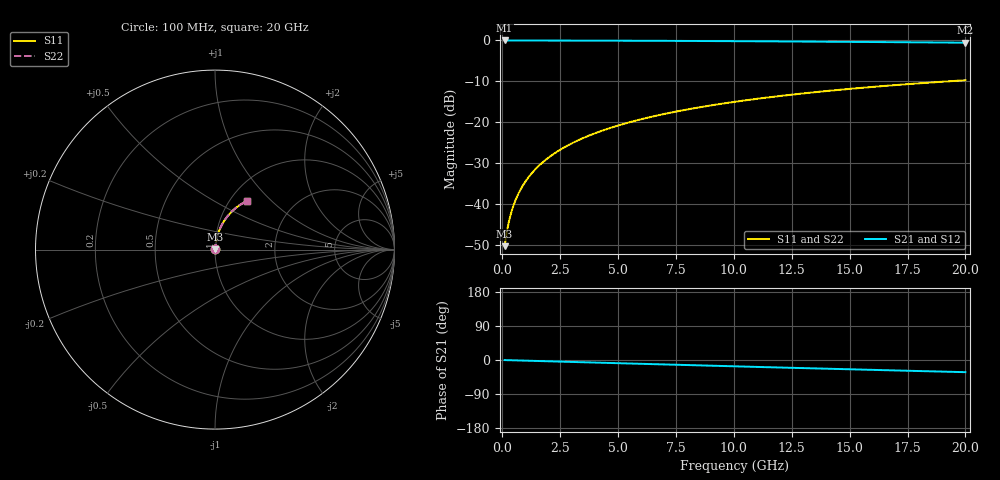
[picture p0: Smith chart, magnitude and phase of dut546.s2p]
! Touchstone file exported from HFSS 2026.1.0
!  File:  C:/ffzhzh/LocalFiles/Ansys_Project_Files/temp_train_BSMRDL_546_1783015021_4048.aedt
!  Generated:  01:58:40 AM Jul  3, 2026
!  Design:  BSMRDL
!  Project:  temp_train_BSMRDL_546_1783015021_4048
! Variables:
!  h_bsmrdl = 3.17um
!  h_ox = 20um
!  h_rdl = 5um
!  h_sub = 80um
!  h_tmrdl = 5um
!  h_tsv = 80um
!  h_via = 3um
!  l_bsmrdl = 424.74um
!  l_sub = 824.74um
!  l_tmrdl = 200um
!  m_sub = 200um
!  pitch = 52.98um
!  r_tsv = 6um
!  s_tmrdl = 10um
!  w_bsmrdl = 22.52um
!  w_sub = 500um
!  w_tmrdl = 12um
!  x_tsv_center1 = 206um
!  x_tsv_center2 = 653.26um
!  x_tsv_center3 = 865.26um
!  x_tsv_center4 = 1312.52um
!  x_tsv_center5 = 1524.52um
!  x_tsv_center6 = 1971.78um
# GHz S MA R 50.000000
! Terminal data exported
! Port[1] = BSM_RDL1_1_T1
! Port[2] = BSM_RDL1_1_T2
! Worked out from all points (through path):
!   200 points, 100 MHz to 20 GHz, reference 50 ohm
!   highest |S21| = -0.02 dB at 100 MHz (marker M1); lowest = -0.6 dB at 20 GHz (marker M2)
!   group delay of S21, straight-line fit = 4.46 ps
!   lowest |S11| = -50.2 dB at 100 MHz (marker M3), VSWR 1.01, Z = 50.2 + j0.201 ohm
!   |S11| at or under -10 dB: start of sweep to 19.25 GHz
!   |S22| runs from -50.2 to -9.7 dB; largest |S21 - S12| = 2.5e-15
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0.1  0.003081 40.4  0.9977 -0.2  0.9977 -0.2  0.003081 40.4
! Gamma 0 0 0 0
! Port Impedance 50 0 50 0
0.2  0.004653 58.2  0.9976 -0.4  0.9976 -0.4  0.004653 58.2
0.3  0.006401 66.1  0.9974 -0.5  0.9974 -0.5  0.006401 66.1
0.4  0.00818 70.5  0.9973 -0.7  0.9973 -0.7  0.00818 70.5
0.5  0.009964 73.3  0.9972 -0.9  0.9972 -0.9  0.009964 73.3
0.6  0.01175 75.3  0.9972 -1.0  0.9972 -1.0  0.01175 75.3
0.8  0.01534 77.8  0.997 -1.4  0.997 -1.4  0.01534 77.8
1.1  0.02077 79.9  0.9968 -1.9  0.9968 -1.9  0.02077 79.9
1.5  0.02804 81.2  0.9966 -2.6  0.9966 -2.6  0.02804 81.2
1.8  0.03351 81.6  0.9963 -3.1  0.9963 -3.1  0.03351 81.6
2.1  0.03899 81.7  0.9961 -3.6  0.9961 -3.6  0.03899 81.7
2.7  0.04993 81.6  0.9954 -4.6  0.9954 -4.6  0.04993 81.6
3.5  0.06446 80.9  0.9944 -5.9  0.9944 -5.9  0.06446 80.9
4.2  0.07709 80.1  0.9932 -7.1  0.9932 -7.1  0.07709 80.1
5  0.09141 79.0  0.9918 -8.5  0.9918 -8.5  0.09141 79.0
5.9  0.1073 77.7  0.9898 -10.0  0.9898 -10.0  0.1073 77.7
6.8  0.1231 76.3  0.9876 -11.4  0.9876 -11.4  0.1231 76.3
8.3  0.1489 74.0  0.9835 -13.9  0.9835 -13.9  0.1489 74.0
10.1  0.179 71.3  0.9779 -16.8  0.9779 -16.8  0.179 71.3
13.4  0.2316 66.2  0.9658 -22.1  0.9658 -22.1  0.2316 66.2
16.7  0.2808 61.3  0.952 -27.2  0.952 -27.2  0.2808 61.3
20  0.3262 56.5  0.937 -32.1  0.937 -32.1  0.3262 56.4
